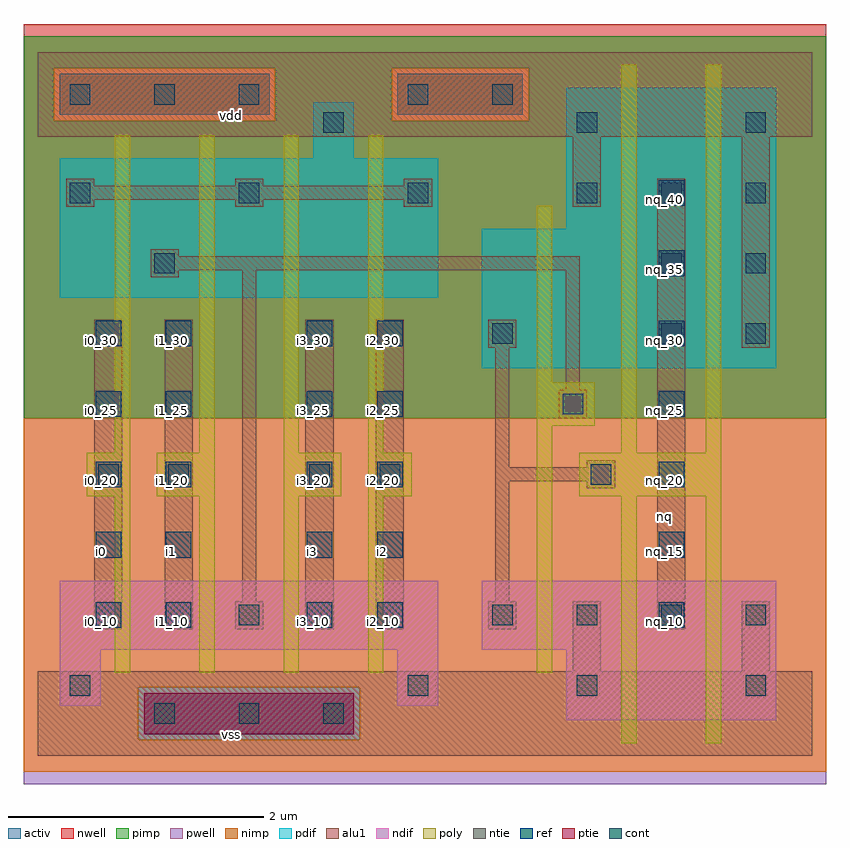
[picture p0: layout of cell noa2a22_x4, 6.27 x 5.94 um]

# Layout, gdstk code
import gdstk
lib = gdstk.Library(unit=1e-6, precision=2.5e-09)
def R(c, l, rs):  # rectangles x0, y0, x1, y1
    for r in rs: c.add(gdstk.rectangle(r[:2], r[2:], *l))
def A(c, l, x, y, w, h, nx, ny, dx, dy):  # array of equal rectangles
    R(c, l, [(x+i*dx, y+j*dy, x+i*dx+w, y+j*dy+h) for i in range(nx) for j in range(ny)])
ndif = (3, 0)
pdif = (4, 0)
ntie = (5, 0)
ptie = (6, 0)
ref = (24, 0)
cont = (25, 0)
pwell = (41, 0)
nwell = (42, 0)
activ = (43, 0)
pimp = (44, 0)
nimp = (45, 0)
poly = (46, 0)
alu1 = (49, 0)

noa2a22_x4 = lib.new_cell('noa2a22_x4')
R(noa2a22_x4, ndif, [(4.13,0.28,5.77,0.83), (4.13,0.28,5.77,0.83), (0.17,0.39,0.49,0.83), (0.17,0.39,0.49,0.83), (2.81,0.39,3.13,0.83), (2.81,0.39,3.13,0.83), (0.17,0.83,3.13,1.37), (0.17,0.83,3.13,1.37), (3.47,0.83,5.77,1.37), (3.47,0.83,5.77,1.37)])
R(noa2a22_x4, pdif, [(3.47,3.03,5.77,4.12), (3.47,3.03,5.77,4.12), (0.17,3.58,3.13,4.67), (0.17,3.58,3.13,4.67), (4.13,4.12,5.77,5.22), (4.13,4.12,5.77,5.22), (2.15,4.67,2.47,5.11), (2.15,4.67,2.47,5.11)])
R(noa2a22_x4, ntie, [(0.17,5.01,1.81,5.33), (0.17,5.01,1.81,5.33), (2.81,5.01,3.79,5.33), (2.81,5.01,3.79,5.33)])
R(noa2a22_x4, ptie, [(0.83,0.17,2.47,0.49), (0.83,0.17,2.47,0.49)])
A(noa2a22_x4, ref, 0.45, 1, 0.2, 0.2, 1, 5, 0, 0.55)
A(noa2a22_x4, ref, 1, 1, 0.2, 0.2, 1, 5, 0, 0.55)
A(noa2a22_x4, ref, 2.1, 1, 0.2, 0.2, 1, 5, 0, 0.55)
A(noa2a22_x4, ref, 2.65, 1, 0.2, 0.2, 1, 5, 0, 0.55)
A(noa2a22_x4, ref, 4.85, 1, 0.2, 0.2, 1, 7, 0, 0.55)
A(noa2a22_x4, cont, 0.91, 0.25, 0.16, 0.16, 3, 1, 0.66, 0)
A(noa2a22_x4, cont, 2.89, 0.47, 0.16, 0.16, 3, 1, 1.32, 0)
A(noa2a22_x4, cont, 3.55, 1.02, 0.16, 0.16, 4, 1, 0.66, 0)
A(noa2a22_x4, cont, 4.87, 3.22, 0.16, 0.16, 1, 3, 0, 0.55)
A(noa2a22_x4, cont, 5.53, 3.22, 0.16, 0.16, 1, 4, 0, 0.55)
A(noa2a22_x4, cont, 0.25, 4.32, 0.16, 0.16, 4, 1, 1.32, 0)
A(noa2a22_x4, cont, 0.25, 5.09, 0.16, 0.16, 3, 1, 0.66, 0)
R(noa2a22_x4, cont, [(0.25,0.47,0.41,0.63), (1.57,1.02,1.73,1.18), (0.47,2.12,0.63,2.28), (1.02,2.12,1.18,2.28), (2.12,2.12,2.28,2.28), (2.67,2.12,2.83,2.28), (4.32,2.12,4.48,2.28), (4.1,2.67,4.26,2.83), (3.55,3.22,3.71,3.38), (0.91,3.77,1.07,3.93), (2.23,4.87,2.39,5.03), (4.21,4.87,4.37,5.03), (2.89,5.09,3.05,5.25), (3.55,5.09,3.71,5.25)])
R(noa2a22_x4, pwell, [(-0.11,-0.22,6.16,2.64)])
R(noa2a22_x4, nwell, [(-0.11,2.64,6.16,5.72)])
R(noa2a22_x4, activ, [(0.83,0.17,2.47,0.49), (0.83,0.17,2.47,0.49), (4.13,0.28,5.77,0.83), (4.13,0.28,5.77,0.83), (0.17,0.39,0.49,0.83), (0.17,0.39,0.49,0.83), (2.81,0.39,3.13,0.83), (2.81,0.39,3.13,0.83), (0.17,0.83,3.13,1.37), (0.17,0.83,3.13,1.37), (3.47,0.83,5.77,1.37), (3.47,0.83,5.77,1.37), (3.47,3.03,5.77,4.12), (3.47,3.03,5.77,4.12), (0.17,3.58,3.13,4.67), (0.17,3.58,3.13,4.67), (4.13,4.12,5.77,5.22), (4.13,4.12,5.77,5.22), (2.15,4.67,2.47,5.11), (2.15,4.67,2.47,5.11), (0.17,5.01,1.81,5.33), (0.17,5.01,1.81,5.33), (2.81,5.01,3.79,5.33), (2.81,5.01,3.79,5.33)])
R(noa2a22_x4, pimp, [(0.785,0.125,2.515,0.535), (-0.11,2.64,6.16,4.965), (-0.11,4.965,0.125,5.375), (1.855,4.965,2.765,5.375), (3.835,4.965,6.16,5.375), (-0.11,5.375,6.16,5.625)])
R(noa2a22_x4, nimp, [(-0.11,-0.125,6.16,0.125), (-0.11,0.125,0.785,0.535), (2.515,0.125,6.16,0.535), (-0.11,0.535,6.16,2.64), (0.125,4.965,1.855,5.375), (2.765,4.965,3.835,5.375)])
A(noa2a22_x4, poly, 0.6, 0.65, 0.12, 1.38, 4, 1, 0.66, 0)
A(noa2a22_x4, poly, 0.6, 2.37, 0.12, 2.48, 4, 1, 0.66, 0)
R(noa2a22_x4, poly, [(4.56,0.1,4.68,2.03), (5.22,0.1,5.34,2.03), (3.9,0.65,4.02,2.58), (0.38,2.03,0.72,2.37), (0.93,2.03,1.38,2.37), (1.92,2.03,2.37,2.37), (2.58,2.03,2.92,2.37), (4.23,2.03,5.34,2.37), (4.56,2.37,4.68,5.4), (5.22,2.37,5.34,5.4), (3.9,2.58,4.35,2.92), (3.9,2.92,4.02,4.3)])
A(noa2a22_x4, alu1, 0.22, 4.29, 0.22, 0.055, 3, 2, 1.32, 0.165)
R(noa2a22_x4, alu1, [(0,0,6.05,0.66), (4.18,0.66,4.4,1.21), (5.5,0.66,5.72,1.21), (0.44,0.99,0.66,3.41), (0.99,0.99,1.21,3.41), (1.54,0.99,1.76,1.21), (2.09,0.99,2.31,3.41), (2.64,0.99,2.86,3.41), (3.52,0.99,3.74,1.21), (4.84,0.99,5.06,4.51), (1.595,1.21,1.705,3.795), (3.575,1.21,3.685,2.145), (4.29,2.09,4.51,2.145), (3.575,2.145,4.51,2.255), (3.575,2.255,3.685,3.19), (4.29,2.255,4.51,2.31), (4.07,2.64,4.29,2.86), (4.125,2.86,4.235,3.795), (3.52,3.19,3.74,3.41), (5.5,3.19,5.72,4.84), (0.88,3.74,1.1,3.795), (0.88,3.795,4.235,3.905), (0.88,3.905,1.1,3.96), (4.18,4.29,4.4,4.84), (0.22,4.345,3.08,4.455), (0,4.84,6.05,5.5)])
noa2a22_x4.add(gdstk.Label('vss', (1.5125,0.165), layer=49, texttype=0))
noa2a22_x4.add(gdstk.Label('nq', (4.895,1.87), layer=49, texttype=0))
noa2a22_x4.add(gdstk.Label('i2', (2.695,1.595), layer=49, texttype=0))
noa2a22_x4.add(gdstk.Label('i3', (2.145,1.595), layer=49, texttype=0))
noa2a22_x4.add(gdstk.Label('i1', (1.045,1.595), layer=49, texttype=0))
noa2a22_x4.add(gdstk.Label('i0', (0.495,1.595), layer=49, texttype=0))
noa2a22_x4.add(gdstk.Label('vdd', (1.5125,5.005), layer=49, texttype=0))
noa2a22_x4.add(gdstk.Label('nq_25', (4.9,2.7), layer=24, texttype=0))
noa2a22_x4.add(gdstk.Label('nq_15', (4.9,1.6), layer=24, texttype=0))
noa2a22_x4.add(gdstk.Label('nq_10', (4.9,1.05), layer=24, texttype=0))
noa2a22_x4.add(gdstk.Label('nq_20', (4.9,2.15), layer=24, texttype=0))
noa2a22_x4.add(gdstk.Label('nq_30', (4.9,3.25), layer=24, texttype=0))
noa2a22_x4.add(gdstk.Label('nq_35', (4.9,3.8), layer=24, texttype=0))
noa2a22_x4.add(gdstk.Label('i0_10', (0.5,1.05), layer=24, texttype=0))
noa2a22_x4.add(gdstk.Label('i0_15', (0.5,1.6), layer=24, texttype=0))
noa2a22_x4.add(gdstk.Label('i0_20', (0.5,2.15), layer=24, texttype=0))
noa2a22_x4.add(gdstk.Label('i0_25', (0.5,2.7), layer=24, texttype=0))
noa2a22_x4.add(gdstk.Label('i0_30', (0.5,3.25), layer=24, texttype=0))
noa2a22_x4.add(gdstk.Label('i1_30', (1.05,3.25), layer=24, texttype=0))
noa2a22_x4.add(gdstk.Label('i1_25', (1.05,2.7), layer=24, texttype=0))
noa2a22_x4.add(gdstk.Label('i1_20', (1.05,2.15), layer=24, texttype=0))
noa2a22_x4.add(gdstk.Label('i1_15', (1.05,1.6), layer=24, texttype=0))
noa2a22_x4.add(gdstk.Label('i1_10', (1.05,1.05), layer=24, texttype=0))
noa2a22_x4.add(gdstk.Label('i3_10', (2.15,1.05), layer=24, texttype=0))
noa2a22_x4.add(gdstk.Label('i3_15', (2.15,1.6), layer=24, texttype=0))
noa2a22_x4.add(gdstk.Label('i3_20', (2.15,2.15), layer=24, texttype=0))
noa2a22_x4.add(gdstk.Label('i3_25', (2.15,2.7), layer=24, texttype=0))
noa2a22_x4.add(gdstk.Label('i3_30', (2.15,3.25), layer=24, texttype=0))
noa2a22_x4.add(gdstk.Label('i2_30', (2.7,3.25), layer=24, texttype=0))
noa2a22_x4.add(gdstk.Label('i2_25', (2.7,2.7), layer=24, texttype=0))
noa2a22_x4.add(gdstk.Label('i2_20', (2.7,2.15), layer=24, texttype=0))
noa2a22_x4.add(gdstk.Label('i2_15', (2.7,1.6), layer=24, texttype=0))
noa2a22_x4.add(gdstk.Label('i2_10', (2.7,1.05), layer=24, texttype=0))
noa2a22_x4.add(gdstk.Label('nq_40', (4.9,4.35), layer=24, texttype=0))

lib.write_gds('noa2a22_x4.gds')
